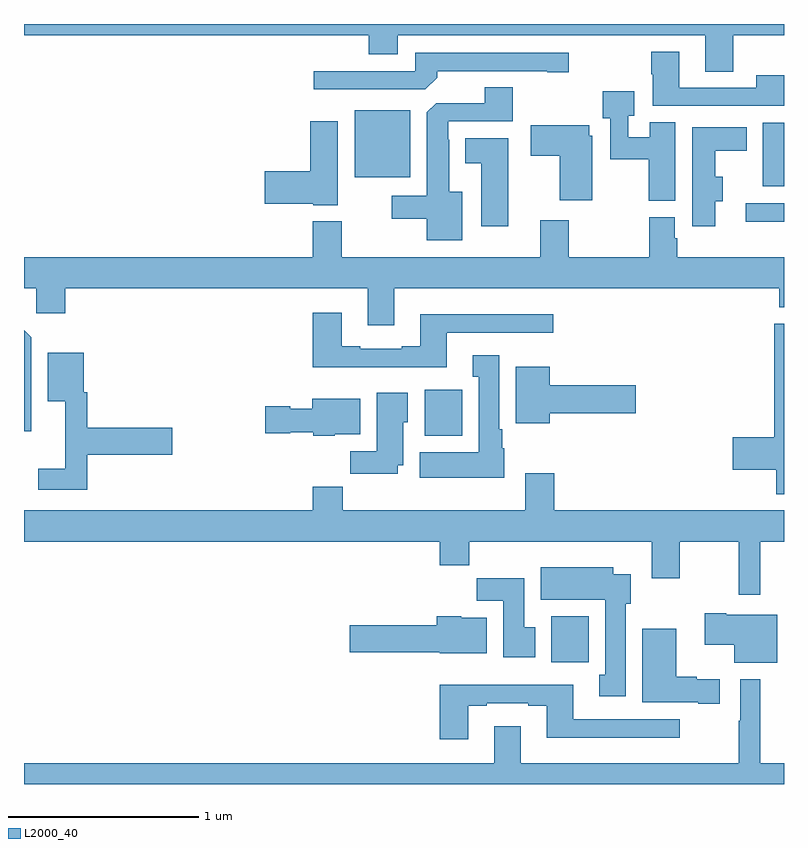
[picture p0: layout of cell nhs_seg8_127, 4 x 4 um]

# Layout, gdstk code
import gdstk
lib = gdstk.Library(unit=1e-6, precision=1e-09)
def R(c, l, rs):  # rectangles x0, y0, x1, y1
    for r in rs: c.add(gdstk.rectangle(r[:2], r[2:], *l))
def P(c, l, *ps):  # polygons
    for p in ps: c.add(gdstk.Polygon(p, *l))
L2000_40 = (2000, 40)

nhs_seg8_127 = lib.new_cell('nhs_seg8_127')
R(nhs_seg8_127, L2000_40, [(121.775,1106.54,121.972,1106.782), (121.109,1107.734,121.306,1107.976), (122.799,1108.859,123,1108.956), (122.888,1109.045,123,1109.38), (120.74,1109.093,121.033,1109.446)])
P(nhs_seg8_127, L2000_40, [(122.733,1109.84),(123,1109.84),(123,1109.9),(119,1109.9),(119,1109.84),(120.815,1109.84),(120.815,1109.741),(120.967,1109.741),(120.967,1109.84),(122.585,1109.84),(122.585,1109.65),(122.733,1109.65)],
  [(123,1109.629),(122.854,1109.629),(122.854,1109.565),(122.449,1109.565),(122.449,1109.755),(122.302,1109.755),(122.302,1109.635),(122.309,1109.635),(122.309,1109.469),(123,1109.469)],
  [(121.175,1109.618),(121.175,1109.652),(121.754,1109.652),(121.754,1109.647),(121.867,1109.647),(121.867,1109.748),(121.059,1109.748),(121.059,1109.652),(120.525,1109.652),(120.525,1109.556),(121.113,1109.556)],
  [(121.306,1109.017),(121.237,1109.017),(121.237,1109.291),(121.233,1109.291),(121.233,1109.388),(121.572,1109.388),(121.572,1109.567),(121.424,1109.567),(121.424,1109.484),(121.17,1109.484),(121.121,1109.435),(121.121,1108.996),(120.936,1108.996),(120.936,1108.874),(121.121,1108.874),(121.121,1108.763),(121.306,1108.763)],
  [(122.428,1109.384),(122.294,1109.384),(122.294,1109.304),(122.181,1109.304),(122.181,1109.417),(122.212,1109.417),(122.212,1109.547),(122.047,1109.547),(122.047,1109.405),(122.085,1109.405),(122.085,1109.188),(122.287,1109.188),(122.287,1108.969),(122.428,1108.969)],
  [(120.652,1109.389),(120.506,1109.389),(120.506,1109.126),(120.267,1109.126),(120.267,1108.955),(120.522,1108.955),(120.522,1108.946),(120.652,1108.946)],
  [(121.99,1109.313),(121.975,1109.313),(121.975,1109.368),(121.668,1109.368),(121.668,1109.206),(121.82,1109.206),(121.82,1108.973),(121.99,1108.973)],
  [(122.638,1108.966),(122.677,1108.966),(122.677,1109.095),(122.638,1109.095),(122.638,1109.234),(122.803,1109.234),(122.803,1109.356),(122.516,1109.356),(122.516,1108.836),(122.638,1108.836)],
  [(121.549,1109.299),(121.322,1109.299),(121.322,1109.168),(121.406,1109.168),(121.406,1108.836),(121.549,1108.836)],
  [(120.949,1108.508),(122.975,1108.508),(122.975,1108.409),(123,1108.409),(123,1108.672),(122.438,1108.672),(122.438,1108.773),(122.425,1108.773),(122.425,1108.884),(122.29,1108.884),(122.29,1108.672),(121.866,1108.672),(121.866,1108.867),(121.718,1108.867),(121.718,1108.672),(120.673,1108.672),(120.673,1108.861),(120.521,1108.861),(120.521,1108.672),(119,1108.672),(119,1108.508),(119.064,1108.508),(119.064,1108.377),(119.216,1108.377),(119.216,1108.508),(120.809,1108.508),(120.809,1108.314),(120.949,1108.314)],
  [(121.225,1108.275),(121.786,1108.275),(121.786,1108.372),(121.085,1108.372),(121.085,1108.204),(120.989,1108.204),(120.989,1108.191),(120.769,1108.191),(120.769,1108.204),(120.673,1108.204),(120.673,1108.381),(120.521,1108.381),(120.521,1108.094),(121.225,1108.094)],
  [(123,1108.322),(122.948,1108.322),(122.948,1107.725),(122.73,1107.725),(122.73,1107.554),(122.96,1107.554),(122.96,1107.426),(123,1107.426)],
  [(119.037,1108.251),(119,1108.288),(119,1107.756),(119.037,1107.756)],
  [(119.333,1107.634),(119.779,1107.634),(119.779,1107.776),(119.333,1107.776),(119.333,1107.963),(119.314,1107.963),(119.314,1108.171),(119.126,1108.171),(119.126,1107.914),(119.216,1107.914),(119.216,1107.559),(119.076,1107.559),(119.076,1107.45),(119.333,1107.45)],
  [(121.528,1107.666),(121.516,1107.666),(121.516,1107.766),(121.501,1107.766),(121.501,1108.156),(121.361,1108.156),(121.361,1108.043),(121.394,1108.043),(121.394,1107.646),(121.082,1107.646),(121.082,1107.512),(121.528,1107.512)],
  [(121.768,1107.851),(122.221,1107.851),(122.221,1107.998),(121.768,1107.998),(121.768,1108.096),(121.589,1108.096),(121.589,1107.8),(121.768,1107.8)],
  [(120.967,1107.578),(120.997,1107.578),(120.997,1107.804),(121.021,1107.804),(121.021,1107.958),(120.857,1107.958),(120.857,1107.652),(120.718,1107.652),(120.718,1107.534),(120.967,1107.534)],
  [(120.636,1107.74),(120.769,1107.74),(120.769,1107.928),(120.518,1107.928),(120.518,1107.874),(120.402,1107.874),(120.402,1107.887),(120.27,1107.887),(120.27,1107.745),(120.402,1107.745),(120.402,1107.752),(120.522,1107.752),(120.522,1107.734),(120.636,1107.734)],
  [(122.875,1107.176),(123,1107.176),(123,1107.34),(121.79,1107.34),(121.79,1107.535),(121.637,1107.535),(121.637,1107.34),(120.677,1107.34),(120.677,1107.464),(120.521,1107.464),(120.521,1107.34),(119,1107.34),(119,1107.176),(121.187,1107.176),(121.187,1107.052),(121.343,1107.052),(121.343,1107.176),(122.303,1107.176),(122.303,1106.982),(122.451,1106.982),(122.451,1107.176),(122.761,1107.176),(122.761,1106.895),(122.875,1106.895)],
  [(122.167,1106.85),(122.194,1106.85),(122.194,1107.004),(122.101,1107.004),(122.101,1107.04),(121.721,1107.04),(121.721,1106.87),(122.06,1106.87),(122.06,1106.474),(122.027,1106.474),(122.027,1106.361),(122.167,1106.361)],
  [(121.69,1106.724),(121.633,1106.724),(121.633,1106.982),(121.384,1106.982),(121.384,1106.864),(121.523,1106.864),(121.523,1106.568),(121.69,1106.568)],
  [(122.965,1106.791),(122.695,1106.791),(122.695,1106.799),(122.583,1106.799),(122.583,1106.633),(122.738,1106.633),(122.738,1106.537),(122.965,1106.537)],
  [(121.435,1106.776),(121.302,1106.776),(121.302,1106.782),(121.172,1106.782),(121.172,1106.736),(120.714,1106.736),(120.714,1106.594),(121.188,1106.594),(121.188,1106.588),(121.435,1106.588)],
  [(122.662,1106.452),(122.54,1106.452),(122.54,1106.465),(122.434,1106.465),(122.434,1106.716),(122.255,1106.716),(122.255,1106.33),(122.549,1106.33),(122.549,1106.323),(122.662,1106.323)],
  [(123,1106.008),(122.875,1106.008),(122.875,1106.452),(122.771,1106.452),(122.771,1106.234),(122.761,1106.234),(122.761,1106.008),(121.615,1106.008),(121.615,1106.203),(121.475,1106.203),(121.475,1106.008),(119,1106.008),(119,1105.9),(123,1105.9)],
  [(121.339,1106.313),(121.435,1106.313),(121.435,1106.325),(121.655,1106.325),(121.655,1106.313),(121.751,1106.313),(121.751,1106.144),(122.452,1106.144),(122.452,1106.241),(121.891,1106.241),(121.891,1106.422),(121.187,1106.422),(121.187,1106.136),(121.339,1106.136)])

lib.write_gds('nhs_seg8_127.gds')
